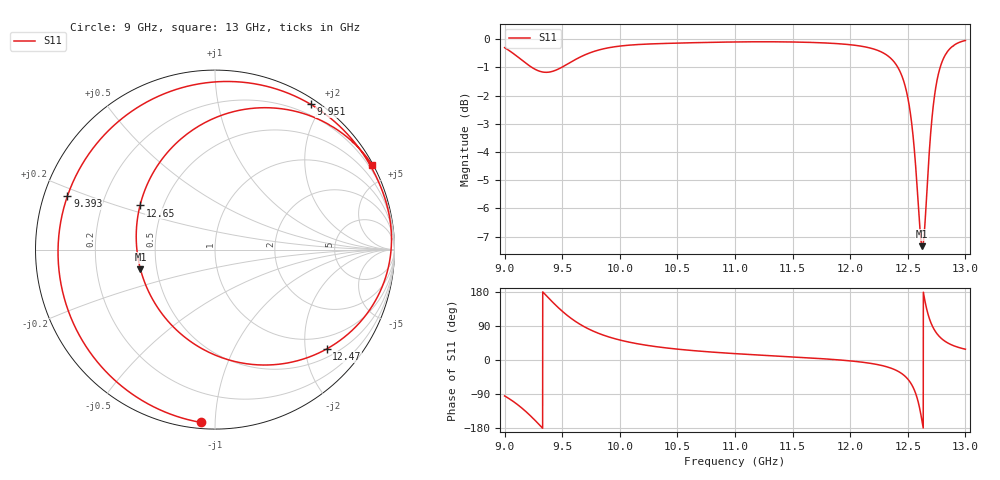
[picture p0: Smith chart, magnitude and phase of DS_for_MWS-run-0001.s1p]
! TOUCHSTONE file generated by CST DESIGN STUDIO
! Date and time: Tue Feb  4 14:17:22 2025
! Project name: C:\Work\MatlabApps\UnitCellOptimizationMatlab\CST\unitcell.cst
! Tree item: Tasks\Sweep1\SPara1\S-Parameters
! Header version: 2024
! Port assignment regex: !\s*Touchstone port\s*([0-9]+)\s*=\s*(CST MWS port|CST DES external port|CST DES block port)\s*(.+)\s* \(\"(.*)\"\)(\s*mode\s*([0-9]+))?.*
! Touchstone port assignment:
! Touchstone port 1 = CST DES external port 1 ("")
# GHz S MA R 50
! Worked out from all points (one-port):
!   4001 points, 9 GHz to 13 GHz, reference 50 ohm
!   lowest |S11| = -7.3 dB at 12.63 GHz (marker M1), VSWR 2.51, Z = 20.2 - j5.4 ohm
!   |S11| at or under -10 dB: nowhere
!   S11 on the Smith chart (normalised r, x): 9 GHz: 0.03, -0.92; 9.393 GHz: 0.07, +0.18; 9.951 GHz: 0.07, +1.85; 12.47 GHz: 0.68, -2.46; 12.65 GHz: 0.37, +0.24; 13 GHz: 0.04, +3.94
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9  0.9659 -94.8
9.092  0.9377 -113.1
9.177  0.909 -134.0
9.291  0.8792 -167.6
9.393  0.8746 160.0
9.5  0.8923 128.8
9.582  0.9123 108.8
9.673  0.9332 90.9
9.806  0.9553 71.5
9.951  0.9691 56.7
10  0.9721 52.7
10.5  0.9841 28.7
11  0.9887 16.8
11.5  0.9885 8.1
12  0.9775 -2.3
12.32  0.9363 -18.1
12.408  0.8952 -28.6
12.472  0.8327 -41.7
12.5  0.7876 -50.3
12.571  0.5848 -90.6
12.598  0.4836 -120.5
12.626  0.4295 -165.3
12.653  0.4847 149.5
12.696  0.6709 102.0
12.742  0.8194 74.2
12.789  0.9017 57.5
12.843  0.9498 45.6
13  0.9947 28.5
